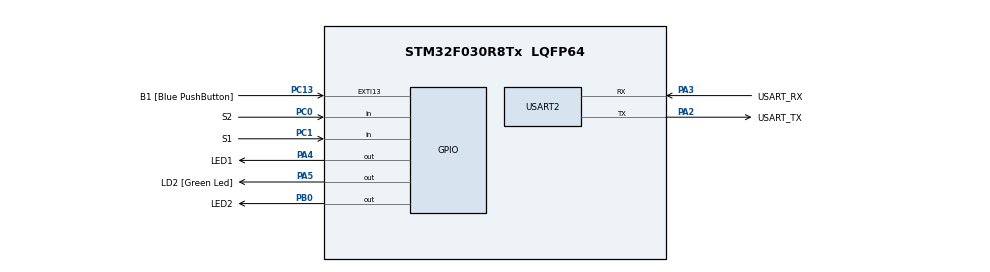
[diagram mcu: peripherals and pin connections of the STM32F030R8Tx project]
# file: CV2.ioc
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Mcu.Family=STM32F0
Mcu.Name=STM32F030R8Tx
Mcu.Package=LQFP64
PA13.GPIO_Label=TMS
PA13.Mode=Serial_Wire
PA13.Signal=SYS_SWDIO
PA14.GPIO_Label=TCK
PA14.Mode=Serial_Wire
PA14.Signal=SYS_SWCLK
PA2.GPIO_Label=USART_TX
PA2.GPIO_Mode=GPIO_MODE_AF_PP
PA2.GPIO_PuPd=GPIO_NOPULL
PA2.GPIO_Speed=GPIO_SPEED_FREQ_LOW
PA2.Mode=Asynchronous
PA2.Signal=USART2_TX
PA3.GPIO_Label=USART_RX
PA3.GPIO_Mode=GPIO_MODE_AF_PP
PA3.GPIO_PuPd=GPIO_NOPULL
PA3.GPIO_Speed=GPIO_SPEED_FREQ_LOW
PA3.Mode=Asynchronous
PA3.Signal=USART2_RX
PA4.GPIO_Label=LED1
PA4.Signal=GPIO_Output
PA5.GPIO_Label=LD2 [Green Led]
PA5.GPIO_Mode=GPIO_MODE_OUTPUT_PP
PA5.GPIO_PuPd=GPIO_NOPULL
PA5.GPIO_Speed=GPIO_SPEED_FREQ_LOW
PA5.Signal=GPIO_Output
PB0.GPIO_Label=LED2
PB0.Signal=GPIO_Output
PC0.GPIO_Label=S2
PC0.GPIO_PuPd=GPIO_PULLUP
PC0.Signal=GPIO_Input
PC1.GPIO_Label=S1
PC1.GPIO_Mode=GPIO_MODE_INPUT
PC1.GPIO_PuPd=GPIO_PULLUP
PC1.Signal=GPIO_Input
PC13.GPIO_Label=B1 [Blue PushButton]
PC13.GPIO_ModeDefaultEXTI=GPIO_MODE_IT_FALLING
PC13.Signal=GPXTI13
PC14-OSC32_IN.Mode=LSE-External-Oscillator
PC14-OSC32_IN.Signal=RCC_OSC32_IN
PC15-OSC32_OUT.Mode=LSE-External-Oscillator
PC15-OSC32_OUT.Signal=RCC_OSC32_OUT
PF0-OSC_IN.Mode=HSE-External-Clock-Source
PF0-OSC_IN.Signal=RCC_OSC_IN
PF1-OSC_OUT.Signal=RCC_OSC_OUT
ProjectManager.HeapSize=0x200
ProjectManager.StackSize=0x400
ProjectManager.TargetToolchain=STM32CubeIDE
RCC.AHBFreq_Value=48000000
RCC.APB1Freq_Value=48000000
RCC.APB1TimFreq_Value=48000000
RCC.HCLKFreq_Value=48000000
RCC.PLLMUL=RCC_PLL_MUL12
RCC.SYSCLKFreq_VALUE=48000000
RCC.SYSCLKSource=RCC_SYSCLKSOURCE_PLLCLK
USART2.VirtualMode-Asynchronous=VM_ASYNC
board=NUCLEO-F030R8

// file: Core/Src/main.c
/* USER CODE BEGIN Header */
/**
  ******************************************************************************
  * @file           : main.c
  * @brief          : Main program body
  ******************************************************************************
  * @attention
  *
  * Copyright (c) 2025 STMicroelectronics.
  * All rights reserved.
  *
  * This software is licensed under terms that can be found in the LICENSE file
  * in the root directory of this software component.
  * If no LICENSE file comes with this software, it is provided AS-IS.
  *
  ******************************************************************************
  */
/* USER CODE END Header */
#include "main.h"

/* USER CODE BEGIN PV */
static uint32_t off_time;
volatile uint32_t Tick;
#define LED_TIME_SHORT 100 //ms
#define LED_TIME_BLINK 300 //ms
#define LED_TIME_LONG 1000 //ms
/* USER CODE END PV */

void SystemClock_Config(void);
static void MX_GPIO_Init(void);
static void MX_USART2_UART_Init(void);

/* USER CODE BEGIN 0 */
void blikac(void)
{
	static uint32_t delay;

	if (Tick > delay + LED_TIME_BLINK) {
		LL_GPIO_TogglePin(LED1_GPIO_Port,LED1_Pin);
		delay = Tick;
	}
}

void tlacitdkaS2(void){
	static uint32_t delay;
	static uint32_t old_s2;

	if (Tick > delay + 40) {
		uint32_t new_s2 = LL_GPIO_IsInputPinSet(S2_GPIO_Port, S2_Pin);

		if (old_s2 && !new_s2) { // falling edge
			off_time = Tick + LED_TIME_SHORT;
			LL_GPIO_SetOutputPin(LED2_GPIO_Port, LED2_Pin);
		}
		old_s2 = new_s2;
	}

	if (Tick > off_time) {
		LL_GPIO_ResetOutputPin(LED2_GPIO_Port, LED2_Pin);
	}

}

void tlacitdkaS1(void){
	static uint32_t delay;
	static uint16_t debounce = 0xFFFF;

	if (Tick > delay + 5) {
		debounce<<=1;
		if (LL_GPIO_IsInputPinSet(S1_GPIO_Port, S1_Pin)){
			debounce |=0x0001;
		}

		if (debounce==0x8000){
			off_time = Tick + LED_TIME_LONG;
			LL_GPIO_SetOutputPin(LED2_GPIO_Port, LED2_Pin);
		}

	}

	if (Tick > off_time) {
		LL_GPIO_ResetOutputPin(LED2_GPIO_Port, LED2_Pin);
	}

}

/* USER CODE END 0 */

int main(void)
{

  /* MCU Configuration--------------------------------------------------------*/

  /* Reset of all peripherals, Initializes the Flash interface and the Systick. */
  LL_APB1_GRP2_EnableClock(LL_APB1_GRP2_PERIPH_SYSCFG);
  LL_APB1_GRP1_EnableClock(LL_APB1_GRP1_PERIPH_PWR);

  /* Configure the system clock */
  SystemClock_Config();

  /* Initialize all configured peripherals */
  MX_GPIO_Init();
  MX_USART2_UART_Init();
  /* USER CODE BEGIN 2 */
  LL_SYSTICK_EnableIT();
  /* USER CODE END 2 */

  /* Infinite loop */
  while (1)
  {
		tlacitdkaS1();
		tlacitdkaS2();
		blikac();
  }
}

void SystemClock_Config(void)
{
  LL_FLASH_SetLatency(LL_FLASH_LATENCY_1);
  while(LL_FLASH_GetLatency() != LL_FLASH_LATENCY_1)
  {
  }
  LL_RCC_HSI_Enable();

   /* Wait till HSI is ready */
  while(LL_RCC_HSI_IsReady() != 1)
  {

  }
  LL_RCC_HSI_SetCalibTrimming(16);
  LL_RCC_PLL_ConfigDomain_SYS(LL_RCC_PLLSOURCE_HSI_DIV_2, LL_RCC_PLL_MUL_12);
  LL_RCC_PLL_Enable();

   /* Wait till PLL is ready */
  while(LL_RCC_PLL_IsReady() != 1)
  {

  }
  LL_RCC_SetAHBPrescaler(LL_RCC_SYSCLK_DIV_1);
  LL_RCC_SetAPB1Prescaler(LL_RCC_APB1_DIV_1);
  LL_RCC_SetSysClkSource(LL_RCC_SYS_CLKSOURCE_PLL);

   /* Wait till System clock is ready */
  while(LL_RCC_GetSysClkSource() != LL_RCC_SYS_CLKSOURCE_STATUS_PLL)
  {

  }
  LL_Init1msTick(48000000);
  LL_SetSystemCoreClock(48000000);
}

static void MX_USART2_UART_Init(void)
{

  LL_USART_InitTypeDef USART_InitStruct = {0};

  LL_GPIO_InitTypeDef GPIO_InitStruct = {0};

  /* Peripheral clock enable */
  LL_APB1_GRP1_EnableClock(LL_APB1_GRP1_PERIPH_USART2);

  LL_AHB1_GRP1_EnableClock(LL_AHB1_GRP1_PERIPH_GPIOA);
  /**USART2 GPIO Configuration
  PA2   ------> USART2_TX
  PA3   ------> USART2_RX
  */
  GPIO_InitStruct.Pin = USART_TX_Pin;
  GPIO_InitStruct.Mode = LL_GPIO_MODE_ALTERNATE;
  GPIO_InitStruct.Speed = LL_GPIO_SPEED_FREQ_LOW;
  GPIO_InitStruct.OutputType = LL_GPIO_OUTPUT_PUSHPULL;
  GPIO_InitStruct.Pull = LL_GPIO_PULL_NO;
  GPIO_InitStruct.Alternate = LL_GPIO_AF_1;
  LL_GPIO_Init(USART_TX_GPIO_Port, &GPIO_InitStruct);

  GPIO_InitStruct.Pin = USART_RX_Pin;
  GPIO_InitStruct.Mode = LL_GPIO_MODE_ALTERNATE;
  GPIO_InitStruct.Speed = LL_GPIO_SPEED_FREQ_LOW;
  GPIO_InitStruct.OutputType = LL_GPIO_OUTPUT_PUSHPULL;
  GPIO_InitStruct.Pull = LL_GPIO_PULL_NO;
  GPIO_InitStruct.Alternate = LL_GPIO_AF_1;
  LL_GPIO_Init(USART_RX_GPIO_Port, &GPIO_InitStruct);

  USART_InitStruct.BaudRate = 38400;
  USART_InitStruct.DataWidth = LL_USART_DATAWIDTH_8B;
  USART_InitStruct.StopBits = LL_USART_STOPBITS_1;
  USART_InitStruct.Parity = LL_USART_PARITY_NONE;
  USART_InitStruct.TransferDirection = LL_USART_DIRECTION_TX_RX;
  USART_InitStruct.HardwareFlowControl = LL_USART_HWCONTROL_NONE;
  USART_InitStruct.OverSampling = LL_USART_OVERSAMPLING_16;
  LL_USART_Init(USART2, &USART_InitStruct);
  LL_USART_DisableIT_CTS(USART2);
  LL_USART_ConfigAsyncMode(USART2);
  LL_USART_Enable(USART2);

}

static void MX_GPIO_Init(void)
{
  LL_EXTI_InitTypeDef EXTI_InitStruct = {0};
  LL_GPIO_InitTypeDef GPIO_InitStruct = {0};

  /* GPIO Ports Clock Enable */
  LL_AHB1_GRP1_EnableClock(LL_AHB1_GRP1_PERIPH_GPIOC);
  LL_AHB1_GRP1_EnableClock(LL_AHB1_GRP1_PERIPH_GPIOF);
  LL_AHB1_GRP1_EnableClock(LL_AHB1_GRP1_PERIPH_GPIOA);
  LL_AHB1_GRP1_EnableClock(LL_AHB1_GRP1_PERIPH_GPIOB);

  /**/
  LL_GPIO_ResetOutputPin(LED1_GPIO_Port, LED1_Pin);

  /**/
  LL_GPIO_ResetOutputPin(LD2_GPIO_Port, LD2_Pin);

  /**/
  LL_GPIO_ResetOutputPin(LED2_GPIO_Port, LED2_Pin);

  /**/
  LL_SYSCFG_SetEXTISource(LL_SYSCFG_EXTI_PORTC, LL_SYSCFG_EXTI_LINE13);

  /**/
  LL_GPIO_SetPinPull(B1_GPIO_Port, B1_Pin, LL_GPIO_PULL_NO);

  /**/
  LL_GPIO_SetPinMode(B1_GPIO_Port, B1_Pin, LL_GPIO_MODE_INPUT);

  /**/
  EXTI_InitStruct.Line_0_31 = LL_EXTI_LINE_13;
  EXTI_InitStruct.LineCommand = ENABLE;
  EXTI_InitStruct.Mode = LL_EXTI_MODE_IT;
  EXTI_InitStruct.Trigger = LL_EXTI_TRIGGER_FALLING;
  LL_EXTI_Init(&EXTI_InitStruct);

  /**/
  GPIO_InitStruct.Pin = S2_Pin;
  GPIO_InitStruct.Mode = LL_GPIO_MODE_INPUT;
  GPIO_InitStruct.Pull = LL_GPIO_PULL_UP;
  LL_GPIO_Init(S2_GPIO_Port, &GPIO_InitStruct);

  /**/
  GPIO_InitStruct.Pin = S1_Pin;
  GPIO_InitStruct.Mode = LL_GPIO_MODE_INPUT;
  GPIO_InitStruct.Pull = LL_GPIO_PULL_UP;
  LL_GPIO_Init(S1_GPIO_Port, &GPIO_InitStruct);

  /**/
  GPIO_InitStruct.Pin = LED1_Pin;
  GPIO_InitStruct.Mode = LL_GPIO_MODE_OUTPUT;
  GPIO_InitStruct.Speed = LL_GPIO_SPEED_FREQ_LOW;
  GPIO_InitStruct.OutputType = LL_GPIO_OUTPUT_PUSHPULL;
  GPIO_InitStruct.Pull = LL_GPIO_PULL_NO;
  LL_GPIO_Init(LED1_GPIO_Port, &GPIO_InitStruct);

  /**/
  GPIO_InitStruct.Pin = LD2_Pin;
  GPIO_InitStruct.Mode = LL_GPIO_MODE_OUTPUT;
  GPIO_InitStruct.Speed = LL_GPIO_SPEED_FREQ_LOW;
  GPIO_InitStruct.OutputType = LL_GPIO_OUTPUT_PUSHPULL;
  GPIO_InitStruct.Pull = LL_GPIO_PULL_NO;
  LL_GPIO_Init(LD2_GPIO_Port, &GPIO_InitStruct);

  /**/
  GPIO_InitStruct.Pin = LED2_Pin;
  GPIO_InitStruct.Mode = LL_GPIO_MODE_OUTPUT;
  GPIO_InitStruct.Speed = LL_GPIO_SPEED_FREQ_LOW;
  GPIO_InitStruct.OutputType = LL_GPIO_OUTPUT_PUSHPULL;
  GPIO_InitStruct.Pull = LL_GPIO_PULL_NO;
  LL_GPIO_Init(LED2_GPIO_Port, &GPIO_InitStruct);

}

void Error_Handler(void)
{
  __disable_irq();
  while (1)
  {
  }
}
